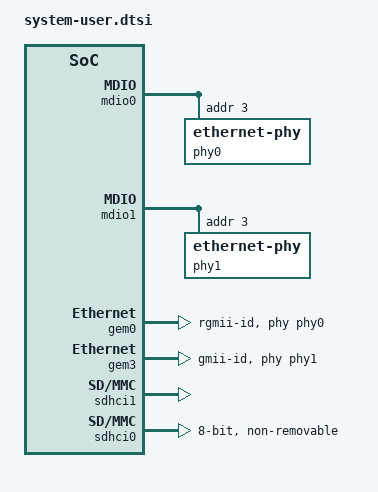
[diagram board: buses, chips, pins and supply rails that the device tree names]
/include/ "system-conf.dtsi"
/ {

	mdio0 {
		compatible = "cdns,macb-mdio";
		reg = <0x0 0xff0b0000 0x0 0x1000>;
		clocks =  <&clk 45>, <&clk 45>, <&clk 49>;
		clock-names = "pclk", "tx_clk", "hclk";
		#address-cells = <1>;
		#size-cells = <0>;
		phy0: ethernet-phy@3 {
			reg = <3>;

			txc-skew-ps = <1800>;
			txen-skew-ps = <420>;

			txd0-skew-ps = <420>;
			txd1-skew-ps = <420>;
			txd2-skew-ps = <420>;
			txd3-skew-ps = <420>;

			rxc-skew-ps = <900>;
			rxdv-skew-ps = <420>;

			rxd0-skew-ps = <420>;
			rxd1-skew-ps = <420>;
			rxd2-skew-ps = <420>;
			rxd3-skew-ps = <420>;
		};
	};

	mdio1 {
		compatible = "cdns,macb-mdio";
		reg = <0x0 0xff0c0000 0x0 0x1000>;
		clocks =  <&clk 45>, <&clk 45>, <&clk 49>;
		clock-names = "pclk", "tx_clk", "hclk";
		#address-cells = <1>;
		#size-cells = <0>;
		phy1: ethernet-phy@3 {
			reg = <3>;

			txc-skew-ps = <1800>;
			txen-skew-ps = <420>;

			txd0-skew-ps = <420>;
			txd1-skew-ps = <420>;
			txd2-skew-ps = <420>;
			txd3-skew-ps = <420>;

			rxc-skew-ps = <1860>;
			rxdv-skew-ps = <420>;

			rxd0-skew-ps = <0>;
			rxd1-skew-ps = <0>;
			rxd2-skew-ps = <0>;
			rxd3-skew-ps = <0>;
		};
	};
	video_m2m {
		compatible = "xlnx,mem2mem";
		dmas = <&m2m_ss_v_frmbuf_rd_0 0>, <&m2m_ss_v_frmbuf_wr_0 0>;
		dma-names = "tx", "rx";
	};
};

&gem0 {
	status = "okay";
	local-mac-address = [00 0a 35 00 02 90];
	phy = <&phy0>;
	phy-mode = "rgmii-id";
	phy-handle = <&phy0>;
};

&gem3 {
	status = "okay";
	local-mac-address = [00 0a 35 00 02 91];
	phy = <&phy1>;
	phy-mode = "gmii-id";
	phy-handle = <&phy1>;
};

&sdhci1 {
	status = "okay";
	no-1-8-v;	/* for 1.0 silicon */
	wp-inverted;
	xlnx,mio_bank = <1>;
};

&sdhci0 {
	status = "okay";
	no-1-8-v;	/* for 1.0 silicon */
	non-removable;
	disable-wp;
	xlnx,mio_bank = <0>;
	bus-width = <8>;
};
